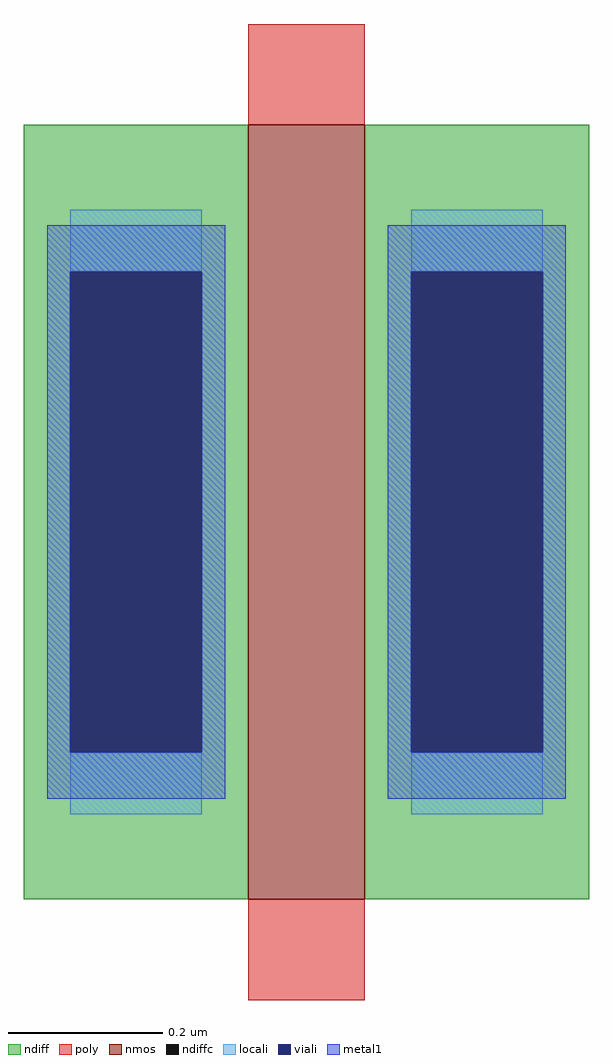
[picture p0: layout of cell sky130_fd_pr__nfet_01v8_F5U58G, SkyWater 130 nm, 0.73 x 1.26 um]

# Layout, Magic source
magic
tech sky130A
magscale 1 2
<< nmos >>
rect -15 -100 15 100
<< ndiff >>
rect -73 62 -15 100
rect -73 -62 -61 62
rect -27 -62 -15 62
rect -73 -100 -15 -62
rect 15 62 73 100
rect 15 -62 27 62
rect 61 -62 73 62
rect 15 -100 73 -62
<< ndiffc >>
rect -61 -62 -27 62
rect 27 -62 61 62
<< poly >>
rect -15 100 15 126
rect -15 -126 15 -100
<< locali >>
rect -61 62 -27 78
rect -61 -78 -27 -62
rect 27 62 61 78
rect 27 -78 61 -62
<< viali >>
rect -61 -62 -27 62
rect 27 -62 61 62
<< metal1 >>
rect -67 62 -21 74
rect -67 -62 -61 62
rect -27 -62 -21 62
rect -67 -74 -21 -62
rect 21 62 67 74
rect 21 -62 27 62
rect 61 -62 67 62
rect 21 -74 67 -62
<< properties >>
string gencell sky130_fd_pr__nfet_01v8
string library sky130
string parameters w 1 l 0.150 m 1 nf 1 diffcov 70 polycov 70 guard 0 glc 0 grc 0 gtc 0 gbc 0 tbcov 70 rlcov 70 topc 0 botc 0 poverlap 0 doverlap 1 lmin 0.15 wmin 0.42 compatible {sky130_fd_pr__nfet_01v8 sky130_fd_pr__nfet_01v8_lvt  sky130_fd_bs_flash__special_sonosfet_star  sky130_fd_pr__nfet_g5v0d10v5 sky130_fd_pr__nfet_05v0_nvt  sky130_fd_pr__nfet_03v3_nvt} full_metal 0 viasrc 70 viadrn 70 viagate 70 viagb 0 viagr 0 viagl 0 viagt 0
<< end >>
